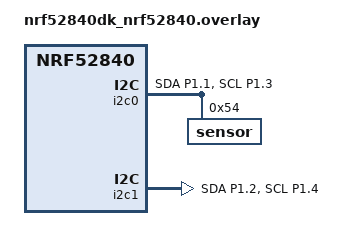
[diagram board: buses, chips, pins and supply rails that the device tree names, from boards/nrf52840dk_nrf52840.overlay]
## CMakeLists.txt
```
#
# Copyright (c) 2025 Nordic Semiconductor ASA
#
# SPDX-License-Identifier: LicenseRef-Nordic-5-Clause
#

cmake_minimum_required(VERSION 3.20.0)

find_package(Zephyr REQUIRED HINTS $ENV{ZEPHYR_BASE})

project(i2c_pan)

target_sources(app PRIVATE src/main.c)
```

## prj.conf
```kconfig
CONFIG_I2C=y
CONFIG_NRFX_TWIS=y

CONFIG_ZTEST=y
```

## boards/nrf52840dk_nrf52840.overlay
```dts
/ {
	aliases {
		i2c-slave = &i2c1;
	};
};

&pinctrl {
	i2c0_default_alt: i2c0_default_alt {
		group1 {
			psels = <NRF_PSEL(TWIM_SDA, 1, 1)>,
				<NRF_PSEL(TWIM_SCL, 1, 3)>;
		};
	};

	i2c0_sleep_alt: i2c0_sleep_alt {
		group1 {
			psels = <NRF_PSEL(TWIM_SDA, 1, 1)>,
				<NRF_PSEL(TWIM_SCL, 1, 3)>;
			low-power-enable;
		};
	};

	i2c1_default_alt: i2c1_default_alt {
		group1 {
			psels = <NRF_PSEL(TWIS_SDA, 1, 2)>,
				<NRF_PSEL(TWIS_SCL, 1, 4)>;
			bias-pull-up;
		};
	};

	i2c1_sleep_alt: i2c1_sleep_alt {
		group1 {
			psels = <NRF_PSEL(TWIS_SDA, 1, 2)>,
				<NRF_PSEL(TWIS_SCL, 1, 4)>;
			low-power-enable;
		};
	};
};

dut_twim: &i2c0 {
	compatible = "nordic,nrf-twim";
	status = "okay";
	pinctrl-0 = <&i2c0_default_alt>;
	pinctrl-1 = <&i2c0_sleep_alt>;
	pinctrl-names = "default", "sleep";

	sensor: sensor@54 {
		reg = <0x54>;
	};
};

dut_twis: &i2c1 {
	compatible = "nordic,nrf-twis";
	status = "okay";
	pinctrl-0 = <&i2c1_default_alt>;
	pinctrl-1 = <&i2c1_sleep_alt>;
	pinctrl-names = "default", "sleep";
};
```

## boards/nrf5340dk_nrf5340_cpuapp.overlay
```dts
/ {
	aliases {
		i2c-slave = &i2c2;
	};
};

&pinctrl {
	i2c1_default_alt: i2c1_default_alt {
		group1 {
			psels = <NRF_PSEL(TWIM_SDA, 0, 4)>,
				<NRF_PSEL(TWIM_SCL, 0, 6)>;
		};
	};

	i2c1_sleep_alt: i2c1_sleep_alt {
		group1 {
			psels = <NRF_PSEL(TWIM_SDA, 0, 4)>,
				<NRF_PSEL(TWIM_SCL, 0, 6)>;
			low-power-enable;
		};
	};

	i2c2_default_alt: i2c2_default_alt {
		group1 {
			psels = <NRF_PSEL(TWIS_SDA, 0, 5)>,
				<NRF_PSEL(TWIS_SCL, 0, 7)>;
			bias-pull-up;
		};
	};

	i2c2_sleep_alt: i2c2_sleep_alt {
		group1 {
			psels = <NRF_PSEL(TWIS_SDA, 0, 5)>,
				<NRF_PSEL(TWIS_SCL, 0, 7)>;
			low-power-enable;
		};
	};
};

dut_twim: &i2c1 {
	compatible = "nordic,nrf-twim";
	status = "okay";
	pinctrl-0 = <&i2c1_default_alt>;
	pinctrl-1 = <&i2c1_sleep_alt>;
	pinctrl-names = "default", "sleep";

	sensor: sensor@54 {
		reg = <0x54>;
	};
};

dut_twis: &i2c2 {
	compatible = "nordic,nrf-twis";
	pinctrl-0 = <&i2c2_default_alt>;
	pinctrl-1 = <&i2c2_sleep_alt>;
	pinctrl-names = "default", "sleep";
};
```

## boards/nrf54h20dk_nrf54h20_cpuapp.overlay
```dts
/ {
	aliases {
		i2c-slave = &i2c131;
	};
};

&pinctrl {
	i2c130_default_alt: i2c130_default_alt {
		group1 {
			psels = <NRF_PSEL(TWIM_SDA, 2, 8)>,
				<NRF_PSEL(TWIM_SCL, 1, 2)>;
		};
	};

	i2c130_sleep_alt: i2c130_sleep_alt {
		group1 {
			psels = <NRF_PSEL(TWIM_SDA, 2, 8)>,
				<NRF_PSEL(TWIM_SCL, 1, 2)>;
			low-power-enable;
		};
	};

	i2c131_default_alt: i2c131_default_alt {
		group1 {
			psels = <NRF_PSEL(TWIM_SDA, 2, 9)>,
				<NRF_PSEL(TWIM_SCL, 1, 3)>;
			bias-pull-up;
		};
	};

	i2c131_sleep_alt: i2c131_sleep_alt {
		group1 {
			psels = <NRF_PSEL(TWIM_SDA, 2, 9)>,
				<NRF_PSEL(TWIM_SCL, 1, 3)>;
			low-power-enable;
		};
	};
};

dut_twim: &i2c130 {
	compatible = "nordic,nrf-twim";
	status = "okay";
	pinctrl-0 = <&i2c130_default_alt>;
	pinctrl-1 = <&i2c130_sleep_alt>;
	pinctrl-names = "default", "sleep";
	memory-regions = <&cpuapp_dma_region>;
	zephyr,concat-buf-size = <512>;

	sensor: sensor@54 {
		reg = <0x54>;
	};
};

dut_twis: &i2c131 {
	compatible = "nordic,nrf-twis";
	status = "okay";
	pinctrl-0 = <&i2c131_default_alt>;
	pinctrl-1 = <&i2c131_sleep_alt>;
	pinctrl-names = "default", "sleep";
	memory-regions = <&cpuapp_dma_region>;
};
```

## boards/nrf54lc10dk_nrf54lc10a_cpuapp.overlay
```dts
/ {
	aliases {
		i2c-slave = &i2c21;
	};
};

&pinctrl {
	i2c20_default_alt: i2c20_default_alt {
		group1 {
			psels = <NRF_PSEL(TWIM_SDA, 1, 0)>,
				<NRF_PSEL(TWIM_SCL, 1, 2)>;
		};
	};

	i2c20_sleep_alt: i2c20_sleep_alt {
		group1 {
			psels = <NRF_PSEL(TWIM_SDA, 1, 0)>,
				<NRF_PSEL(TWIM_SCL, 1, 2)>;
			low-power-enable;
		};
	};

	i2c21_default_alt: i2c21_default_alt {
		group1 {
			psels = <NRF_PSEL(TWIS_SDA, 1, 1)>,
				<NRF_PSEL(TWIS_SCL, 1, 3)>;
			bias-pull-up;
		};
	};

	i2c21_sleep_alt: i2c21_sleep_alt {
		group1 {
			psels = <NRF_PSEL(TWIS_SDA, 1, 1)>,
				<NRF_PSEL(TWIS_SCL, 1, 3)>;
			low-power-enable;
		};
	};
};

dut_twim: &i2c20 {
	compatible = "nordic,nrf-twim";
	status = "okay";
	pinctrl-0 = <&i2c20_default_alt>;
	pinctrl-1 = <&i2c20_sleep_alt>;
	pinctrl-names = "default", "sleep";

	sensor: sensor@54 {
		reg = <0x54>;
	};
};

dut_twis: &i2c21 {
	compatible = "nordic,nrf-twis";
	status = "okay";
	pinctrl-0 = <&i2c21_default_alt>;
	pinctrl-1 = <&i2c21_sleep_alt>;
	pinctrl-names = "default", "sleep";
};
```

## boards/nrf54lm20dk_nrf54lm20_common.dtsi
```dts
/*
 * Copyright (c) 2026 Nordic Semiconductor ASA
 *
 * SPDX-License-Identifier: LicenseRef-Nordic-5-Clause
 */

/ {
	aliases {
		i2c-slave = &i2c22;
	};
};

&pinctrl {
	i2c21_default_alt: i2c21_default_alt {
		group1 {
			psels = <NRF_PSEL(TWIM_SDA, 1, 13)>,
				<NRF_PSEL(TWIM_SCL, 1, 23)>;
		};
	};

	i2c21_sleep_alt: i2c21_sleep_alt {
		group1 {
			psels = <NRF_PSEL(TWIM_SDA, 1, 13)>,
				<NRF_PSEL(TWIM_SCL, 1, 23)>;
			low-power-enable;
		};
	};

	i2c22_default_alt: i2c22_default_alt {
		group1 {
			psels = <NRF_PSEL(TWIS_SDA, 1, 14)>,
				<NRF_PSEL(TWIS_SCL, 1, 24)>;
			bias-pull-up;
		};
	};

	i2c22_sleep_alt: i2c22_sleep_alt {
		group1 {
			psels = <NRF_PSEL(TWIS_SDA, 1, 14)>,
				<NRF_PSEL(TWIS_SCL, 1, 24)>;
			low-power-enable;
		};
	};
};

dut_twim: &i2c21 {
	compatible = "nordic,nrf-twim";
	status = "okay";
	pinctrl-0 = <&i2c21_default_alt>;
	pinctrl-1 = <&i2c21_sleep_alt>;
	pinctrl-names = "default", "sleep";

	sensor: sensor@54 {
		reg = <0x54>;
	};
};

dut_twis: &i2c22 {
	compatible = "nordic,nrf-twis";
	status = "okay";
	pinctrl-0 = <&i2c22_default_alt>;
	pinctrl-1 = <&i2c22_sleep_alt>;
	pinctrl-names = "default", "sleep";
};
```

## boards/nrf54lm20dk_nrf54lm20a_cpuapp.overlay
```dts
/ {
	aliases {
		i2c-slave = &i2c22;
	};
};

&pinctrl {
	i2c21_default_alt: i2c21_default_alt {
		group1 {
			psels = <NRF_PSEL(TWIM_SDA, 1, 8)>,
				<NRF_PSEL(TWIM_SCL, 1, 12)>;
		};
	};

	i2c21_sleep_alt: i2c21_sleep_alt {
		group1 {
			psels = <NRF_PSEL(TWIM_SDA, 1, 8)>,
				<NRF_PSEL(TWIM_SCL, 1, 12)>;
			low-power-enable;
		};
	};

	i2c22_default_alt: i2c22_default_alt {
		group1 {
			psels = <NRF_PSEL(TWIS_SDA, 1, 9)>,
				<NRF_PSEL(TWIS_SCL, 1, 13)>;
			bias-pull-up;
		};
	};

	i2c22_sleep_alt: i2c22_sleep_alt {
		group1 {
			psels = <NRF_PSEL(TWIS_SDA, 1, 9)>,
				<NRF_PSEL(TWIS_SCL, 1, 13)>;
			low-power-enable;
		};
	};
};

dut_twim: &i2c21 {
	compatible = "nordic,nrf-twim";
	status = "okay";
	pinctrl-0 = <&i2c21_default_alt>;
	pinctrl-1 = <&i2c21_sleep_alt>;
	pinctrl-names = "default", "sleep";

	sensor: sensor@54 {
		reg = <0x54>;
	};
};

dut_twis: &i2c22 {
	compatible = "nordic,nrf-twis";
	status = "okay";
	pinctrl-0 = <&i2c22_default_alt>;
	pinctrl-1 = <&i2c22_sleep_alt>;
	pinctrl-names = "default", "sleep";
};
```

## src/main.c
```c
/*
 * Copyright (c) 2025 Nordic Semiconductor ASA
 *
 * SPDX-License-Identifier: LicenseRef-Nordic-5-Clause
 */

#include <errno.h>
#include <zephyr/kernel.h>
#include <zephyr/linker/devicetree_regions.h>
#include <zephyr/device.h>
#include <zephyr/drivers/pinctrl.h>

#include <zephyr/drivers/i2c.h>
#include <nrfx_twis.h>

#include <zephyr/ztest.h>

#define NODE_TWIM	    DT_NODELABEL(sensor)
#define NODE_TWIS	    DT_ALIAS(i2c_slave)
#define MEASUREMENT_REPEATS 10

#define TWIS_MEMORY_SECTION                                                                        \
	COND_CODE_1(DT_NODE_HAS_PROP(NODE_TWIS, memory_regions),                                   \
		    (__attribute__((__section__(                                                   \
			    LINKER_DT_NODE_REGION_NAME(DT_PHANDLE(NODE_TWIS, memory_regions)))))), \
		    ())

#define TEST_BUFFER_SIZE 128

static nrfx_twis_t twis = {.p_reg = (NRF_TWIS_Type *)DT_REG_ADDR(NODE_TWIS)};
static uint8_t i2c_slave_buffer[TEST_BUFFER_SIZE] TWIS_MEMORY_SECTION;
static uint8_t i2c_master_buffer[TEST_BUFFER_SIZE];

struct i2c_api_twis_fixture {
	const struct device *dev;
	uint8_t addr;
	uint8_t *const master_buffer;
	uint8_t *const slave_buffer;
};

static struct i2c_api_twis_fixture fixture = {
	.dev = DEVICE_DT_GET(DT_BUS(NODE_TWIM)),
	.addr = DT_REG_ADDR(NODE_TWIM),
	.master_buffer = i2c_master_buffer,
	.slave_buffer = i2c_slave_buffer,
};

static void i2s_slave_handler(nrfx_twis_event_t const *p_event)
{
	switch (p_event->type) {
	case NRFX_TWIS_EVT_READ_REQ:
		nrfx_twis_tx_prepare(&twis, i2c_slave_buffer, TEST_BUFFER_SIZE);
		break;
	case NRFX_TWIS_EVT_READ_DONE:
		break;
	case NRFX_TWIS_EVT_WRITE_REQ:
		nrfx_twis_rx_prepare(&twis, i2c_slave_buffer, TEST_BUFFER_SIZE);
		break;
	case NRFX_TWIS_EVT_WRITE_DONE:
		break;
	default:
		break;
	}
}

static void *test_setup(void)
{
	const nrfx_twis_config_t config = {
		.addr = {fixture.addr, 0},
		.skip_gpio_cfg = true,
		.skip_psel_cfg = true,
	};
	int ret;

	zassert_true(device_is_ready(fixture.dev), "TWIM device is not ready");
	zassert_equal(0, nrfx_twis_init(&twis, &config, i2s_slave_handler),
		      "TWIS initialization failed");

	PINCTRL_DT_DEFINE(NODE_TWIS);
	ret = pinctrl_apply_state(PINCTRL_DT_DEV_CONFIG_GET(NODE_TWIS), PINCTRL_STATE_DEFAULT);
	zassert_ok(ret);

	IRQ_CONNECT(DT_IRQN(NODE_TWIS), DT_IRQ(NODE_TWIS, priority), nrfx_twis_irq_handler, &twis,
		    0);

	nrfx_twis_enable(&twis);

	return NULL;
}

static void prepare_test_data(uint8_t *const buffer)
{
	for (size_t counter = 0; counter < TEST_BUFFER_SIZE; counter++) {
		buffer[counter] = counter;
	}
}

static void cleanup_buffers(void *nullp)
{
	memset(fixture.slave_buffer, 0, TEST_BUFFER_SIZE);
	memset(fixture.master_buffer, 0, TEST_BUFFER_SIZE);
}

static void configure_twim(void)
{
	uint32_t i2c_config = I2C_SPEED_SET(I2C_SPEED_STANDARD) | I2C_MODE_CONTROLLER;

	zassert_ok(i2c_configure(fixture.dev, i2c_config));
}

/*
 * Verify driver ability to recover after long clock stretching (corner case)
 * During I2C transaction, TWIM SCL is 0 either before or after disabling TWIM.
 */
ZTEST(i2c_pan, test_clock_stretching_recovery)
{
	int ret;
	uint32_t scl_pin;

	configure_twim();
	prepare_test_data(fixture.master_buffer);
	memset(fixture.slave_buffer, 0, TEST_BUFFER_SIZE);

	TC_PRINT("STEP 1: TWIM - TWIS transmission with valid configuration\n");
	scl_pin = nrf_twis_scl_pin_get(twis.p_reg);
	TC_PRINT("TWIS SCL pin: 0x%x\n", scl_pin);
	ret = i2c_read(fixture.dev, fixture.master_buffer, TEST_BUFFER_SIZE, fixture.addr);
	zassert_ok(ret, "i2c_read failed: %d\n", ret);
	zassert_mem_equal(fixture.master_buffer, fixture.slave_buffer, TEST_BUFFER_SIZE);

	TC_PRINT("STEP 2: TWIM - TWIS transmission with SCL pulled low "
		 "(ETIMEDOUT error is expected)\n");
	/* Pull TWIS SCL pin low */
	nrf_twis_scl_pin_set(twis.p_reg, 1 << 31);
	nrf_gpio_cfg_output(scl_pin);
	nrf_gpio_pin_clear(scl_pin);
	TC_PRINT("TWIS SCL pin (disconnected): 0x%x\n", nrf_twis_scl_pin_get(twis.p_reg));
	memset(fixture.slave_buffer, 0, TEST_BUFFER_SIZE);
	ret = i2c_read(fixture.dev, fixture.master_buffer, TEST_BUFFER_SIZE, fixture.addr);
	zassert_equal(ret, -ETIMEDOUT,
		      "i2c_read failed with different error than expeced (ETIMEDOUT) %d\n", ret);

	TC_PRINT("STEP 3: TWIM - TWIS transmission after TWIS pin reconfiguration\n");
	/* Restore original TWIS pin configuration */
	PINCTRL_DT_DEFINE(NODE_TWIS);
	ret = pinctrl_apply_state(PINCTRL_DT_DEV_CONFIG_GET(NODE_TWIS), PINCTRL_STATE_DEFAULT);
	zassert_ok(ret);
	TC_PRINT("TWIS SCL pin (reconfigured): 0x%x\n", nrf_twis_scl_pin_get(twis.p_reg));

	/* Attempt proper transfer, expected to fail on devices affected by nRF54L and nRF71
	 * anomaly 105.
	 */
	ret = i2c_read(fixture.dev, fixture.master_buffer, TEST_BUFFER_SIZE, fixture.addr);
	if (NRF_ERRATA_DYNAMIC_CHECK(54H, 244) || NRF_ERRATA_DYNAMIC_CHECK(54L, 105) ||
	    NRF_ERRATA_DYNAMIC_CHECK(71, 105) || NRF_ERRATA_DYNAMIC_CHECK(92, 244)) {
		zassert_equal(ret, -ETIMEDOUT,
			      "i2c_read failed with different error than expeced (ETIMEDOUT) %d\n",
			      ret);
	} else {
		zassert_ok(ret, "i2c_read failed (after SCL release): %d\n", ret);
		zassert_mem_equal(fixture.master_buffer, fixture.slave_buffer, TEST_BUFFER_SIZE);
	}
}

ZTEST_SUITE(i2c_pan, NULL, test_setup, NULL, cleanup_buffers, NULL);
```
